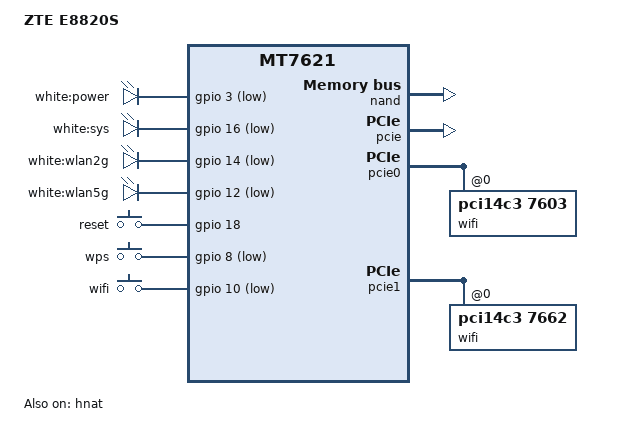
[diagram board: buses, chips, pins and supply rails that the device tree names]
// SPDX-License-Identifier: GPL-2.0-or-later OR MIT

#include "mt7621.dtsi"

#include <dt-bindings/gpio/gpio.h>
#include <dt-bindings/input/input.h>

/ {
	compatible = "zte,e8820s", "mediatek,mt7621-soc";
	model = "ZTE E8820S";

	aliases {
		led-boot = &led_sys;
		led-failsafe = &led_sys;
		led-running = &led_power;
		led-upgrade = &led_power;
		label-mac-device = &gmac0;
	};

	chosen {
		bootargs = "console=ttyS0,115200";
	};

	leds {
		compatible = "gpio-leds";

		led_power: power {
			label = "white:power";
			gpios = <&gpio 3 GPIO_ACTIVE_LOW>;
		};

		led_sys: sys {
			label = "white:sys";
			gpios = <&gpio 16 GPIO_ACTIVE_LOW>;
		};

		wlan2g {
			label = "white:wlan2g";
			gpios = <&gpio 14 GPIO_ACTIVE_LOW>;
		};

		wlan5g {
			label = "white:wlan5g";
			gpios = <&gpio 12 GPIO_ACTIVE_LOW>;
		};
	};

	keys {
		compatible = "gpio-keys";

		reset {
			label = "reset";
			gpios = <&gpio 18 GPIO_ACTIVE_HIGH>;
			linux,code = <KEY_RESTART>;
		};

		wps {
			label = "wps";
			gpios = <&gpio 8 GPIO_ACTIVE_LOW>;
			linux,code = <KEY_WPS_BUTTON>;
		};

		wifi {
			label = "wifi";
			gpios = <&gpio 10 GPIO_ACTIVE_LOW>;
			linux,code = <KEY_RFKILL>;
		};
	};

	ubi-concat {
		compatible = "mtd-concat";
		devices = <&ubipart0 &ubipart1>;

		partitions {
			compatible = "fixed-partitions";
			#address-cells = <1>;
			#size-cells = <1>;

			ubi@0 {
				label = "ubi";
				reg = <0x0 0x79c0000>;
			};
		};
	};
};

&nand {
	status = "okay";

	partitions {
		compatible = "fixed-partitions";
		#address-cells = <1>;
		#size-cells = <1>;

		partition@0 {
			label = "u-boot";
			reg = <0x0 0x80000>;
			read-only;
		};

		partition@80000 {
			label = "debug";
			reg = <0x80000 0x80000>;
			read-only;
		};

		factory: partition@100000 {
			label = "factory";
			reg = <0x100000 0x40000>;
			read-only;
		};

		partition@140000 {
			label = "kernel";
			reg = <0x140000 0x400000>;
		};

		ubipart0: partition@540000 {
			label = "ubipart0";
			reg = <0x540000 0x1c80000>;
		};

		partition@21c0000 {
			label = "bdinfo";
			reg = <0x21c0000 0x80000>;
			read-only;
		};

		ubipart1: partition@2240000 {
			label = "ubipart1";
			reg = <0x2240000 0x5d40000>;
		};
	};
};

&pcie {
	status = "okay";
};

&pcie0 {
	wifi@0,0 {
		compatible = "pci14c3,7603";
		reg = <0x0000 0 0 0 0>;
		mediatek,mtd-eeprom = <&factory 0x0000>;
		ieee80211-freq-limit = <2400000 2500000>;
	};
};

&pcie1 {
	wifi@0,0 {
		compatible = "pci14c3,7662";
		reg = <0x0000 0 0 0 0>;
		mediatek,mtd-eeprom = <&factory 0x8000>;
		ieee80211-freq-limit = <5000000 6000000>;
	};
};

&gmac0 {
	mtd-mac-address = <&factory 0xe006>;
};

&switch0 {
	/* must delete compatible property */
	/delete-property/ compatible;
};

&hnat {
        mtketh-wan = "eth1";
        mtketh-ppd = "eth0";
        mtketh-lan = "eth0";
	ext-devices = "wlan0","wlan1","rax0","ra0", "rai0","apclii0","apclix0", "apcli0";
        mtketh-max-gmac = <2>;
        status = "okay";
};

&gsw {
	mediatek,mdio = <&mdio>;
	mediatek,portmap = "llllw";
	mediatek,mcm;
	mt7530,direct-phy-access;

	resets = <&rstctrl 2>;
	reset-names = "mcm";

	port5: port@5 {
		compatible = "mediatek,mt753x-port";
		reg = <5>;
		phy-mode = "rgmii";
		fixed-link {
			speed = <1000>;
			full-duplex;
		};
	};

	port6: port@6 {
		compatible = "mediatek,mt753x-port";
		reg = <6>;
		phy-mode = "rgmii";
		fixed-link {
			speed = <1000>;
			full-duplex;
		};
	};

	mdio-bus {
		#address-cells = <1>;
		#size-cells = <0>;
	};
};

&state_default {
	gpio {
		groups = "jtag", "uart2", "uart3", "wdt";
		function = "gpio";
	};
};
